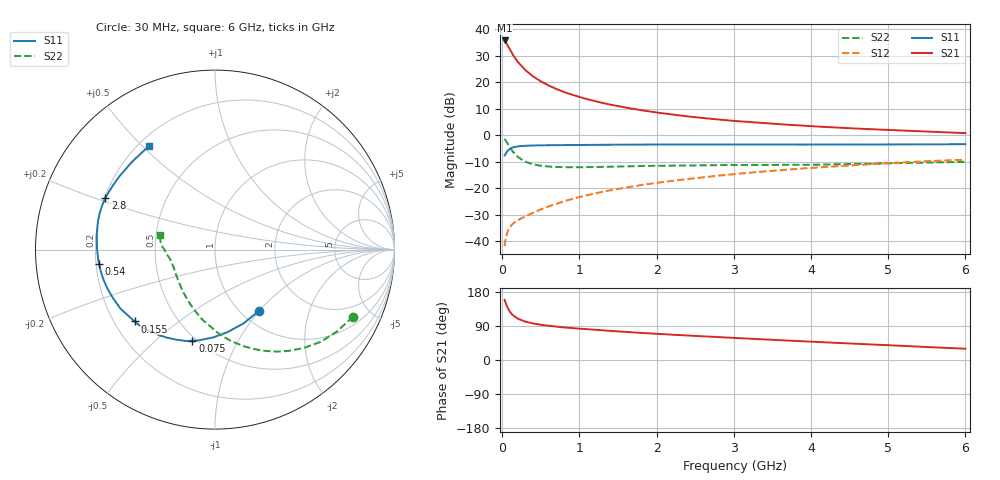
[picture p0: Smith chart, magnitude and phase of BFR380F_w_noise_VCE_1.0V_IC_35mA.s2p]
! Infineon Technologies  Discrete & RF Semiconductors
! BFR380F
! VCE =  1.0 V,  IC =  35 mA
! Common Emitter S-Parameters:  Nov 2015
# GHz  S  MA  R  50
!  f  S11  S21  S12  S22
! GHz  MAG  ANG  MAG  ANG  MAG  ANG  MAG  ANG
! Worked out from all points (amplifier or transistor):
!   206 points, 30 MHz to 6 GHz, reference 50 ohm
!   highest |S21| = 35.9 dB at 30 MHz (marker M1)
!   |S21| within 3 dB of that: start of sweep to 89.95 MHz
!   unconditionally stable (mu >= 1): 831.2 MHz to end of sweep
!   at 200 MHz: K = 0.57, MSG = 30.0 dB, |S12| = -32.1 dB
!   at 1.56 GHz: K = 1.06, MAG = 13.8 dB, |S12| = -19.9 dB
!   at 6 GHz: K = 1.01, MAG = 4.5 dB, |S12| = -9.2 dB
!   lowest NFmin = 1.29 dB at 900 MHz
!   S11 on the Smith chart (normalised r, x): 30 MHz: 1.20, -0.99; 75 MHz: 0.48, -0.67; 155 MHz: 0.28, -0.35; 540 MHz: 0.21, -0.06; 2.8 GHz: 0.20, +0.21; 6 GHz: 0.24, +0.52
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0.03  0.42 -54.5  62.03 158.9  0.0081 74.5  0.8545 -25.9
0.04  0.4409 -68.8  59.27 152.7  0.0104 70.2  0.8191 -33.8
0.05  0.4659 -81.7  56.34 146.7  0.0124 66.0  0.7809 -41.2
0.07  0.5138 -100.3  49.82 137.2  0.0156 59.8  0.6983 -53.9
0.075  0.5227 -103.9  48.3 135.5  0.0161 58.6  0.6786 -56.6
0.09  0.5467 -113.4  43.9 130.1  0.0178 55.6  0.6248 -64.4
0.11  0.5699 -123.3  38.91 124.3  0.0195 53.2  0.5623 -73.3
0.13  0.5876 -130.7  34.63 119.7  0.021 51.6  0.5114 -80.8
0.155  0.6006 -138.2  30.46 115.4  0.0225 50.8  0.4611 -88.4
0.2  0.6208 -147.9  24.52 109.1  0.0248 50.7  0.3954 -100.5
0.24  0.6274 -153.4  21.04 105.6  0.0268 51.5  0.3573 -108.4
0.3  0.6373 -160.0  17.05 101.2  0.0297 53.4  0.3186 -118.9
0.4  0.6454 -166.8  12.99 96.4  0.0348 57.0  0.2845 -131.3
0.54  0.6505 -172.8  9.781 91.9  0.0423 60.8  0.2631 -142.8
0.7  0.6548 -177.6  7.529 88.0  0.0512 63.9  0.2536 -151.8
1.04  0.6607 175.4  5.108 82.0  0.0709 67.3  0.2509 -162.6
2.02  0.6737 162.6  2.685 68.9  0.1283 68.3  0.2671 -173.3
2.8  0.6755 154.8  1.994 60.3  0.1735 66.3  0.2755 -176.7
3.1  0.6734 152.0  1.834 57.4  0.1911 65.2  0.2763 -177.4
4.1  0.6706 142.0  1.466 47.3  0.2489 60.6  0.2803 -179.6
5.1  0.6727 132.5  1.25 38.1  0.3036 55.4  0.2994 175.1
6  0.6837 122.6  1.104 29.7  0.348 49.8  0.3176 165.1
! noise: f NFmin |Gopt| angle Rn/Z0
0.45  1.32  0.33  -177  0.08
0.9  1.29  0.36  -177  0.07
1.8  1.5  0.42  -166  0.08
1.9  1.58  0.43  -166  0.08
2.4  1.65  0.45  -156  0.1
3.5  2.23  0.51  -147  0.16
